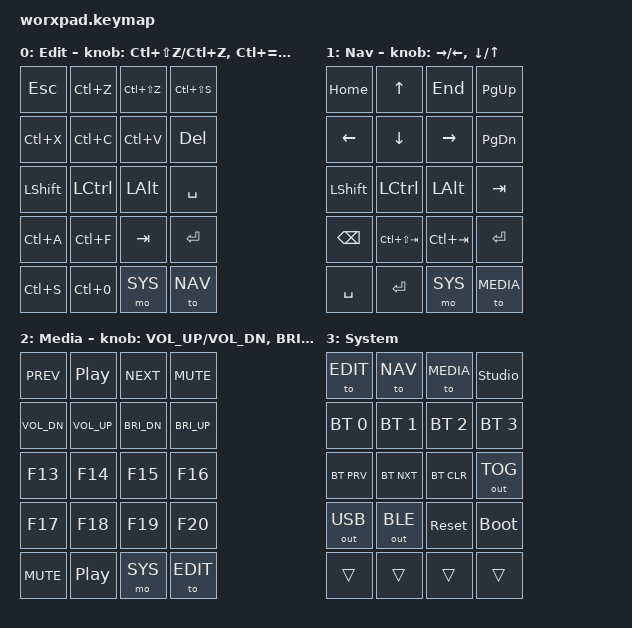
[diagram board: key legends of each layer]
/*
 * SPDX-License-Identifier: MIT
 *
 * worxpad default keymap. docs/keymap.md describes it. Ctrl shortcuts as Windows and Linux creative
 * applications use them; on macOS remap Ctrl to Cmd in ZMK Studio or in the host.
 *
 * Position order per layer (worxpad_nrf52840_zmk.dts, matrix_transform):
 *   4 x 4 keys row by row from the rear-left, then left knob push, right knob push, left button,
 *   right button. Sensor bindings: left knob, right knob; the first key is clockwise.
 *
 * The right button steps Edit -> Nav -> Media -> Edit. Holding the left button gives System:
 * layer select, Bluetooth profiles, output, ZMK Studio unlock, reset and bootloader.
 */

#include <behaviors.dtsi>
#include <dt-bindings/zmk/keys.h>
#include <dt-bindings/zmk/bt.h>
#include <dt-bindings/zmk/outputs.h>

#define EDIT 0
#define NAV 1
#define MEDIA 2
#define SYS 3

/ {
    keymap {
        compatible = "zmk,keymap";

        edit {
            display-name = "Edit";
            bindings = <
                &kp ESC        &kp LC(Z)    &kp LC(LS(Z))  &kp LC(LS(S))
                &kp LC(X)      &kp LC(C)    &kp LC(V)      &kp DEL
                &kp LSHFT      &kp LCTRL    &kp LALT       &kp SPACE
                &kp LC(A)      &kp LC(F)    &kp TAB        &kp ENTER
                &kp LC(S)      &kp LC(N0)   &mo SYS        &to NAV
            >;
            sensor-bindings = <&inc_dec_kp LC(LS(Z)) LC(Z) &inc_dec_kp LC(EQUAL) LC(MINUS)>;
        };

        nav {
            display-name = "Nav";
            bindings = <
                &kp HOME       &kp UP       &kp END        &kp PG_UP
                &kp LEFT       &kp DOWN     &kp RIGHT      &kp PG_DN
                &kp LSHFT      &kp LCTRL    &kp LALT       &kp TAB
                &kp BSPC       &kp LC(LS(TAB)) &kp LC(TAB) &kp ENTER
                &kp SPACE      &kp ENTER    &mo SYS        &to MEDIA
            >;
            sensor-bindings = <&inc_dec_kp RIGHT LEFT &inc_dec_kp DOWN UP>;
        };

        media {
            display-name = "Media";
            bindings = <
                &kp C_PREV     &kp C_PP     &kp C_NEXT     &kp C_MUTE
                &kp C_VOL_DN   &kp C_VOL_UP &kp C_BRI_DN   &kp C_BRI_UP
                &kp F13        &kp F14      &kp F15        &kp F16
                &kp F17        &kp F18      &kp F19        &kp F20
                &kp C_MUTE     &kp C_PP     &mo SYS        &to EDIT
            >;
            sensor-bindings = <&inc_dec_kp C_VOL_UP C_VOL_DN &inc_dec_kp C_BRI_UP C_BRI_DN>;
        };

        /* No sensor bindings: the knobs keep the function of the layer below. */
        sys {
            display-name = "System";
            bindings = <
                &to EDIT       &to NAV      &to MEDIA      &studio_unlock
                &bt BT_SEL 0   &bt BT_SEL 1 &bt BT_SEL 2   &bt BT_SEL 3
                &bt BT_PRV     &bt BT_NXT   &bt BT_CLR     &out OUT_TOG
                &out OUT_USB   &out OUT_BLE &sys_reset     &bootloader
                &trans         &trans       &trans         &trans
            >;
        };
    };
};
